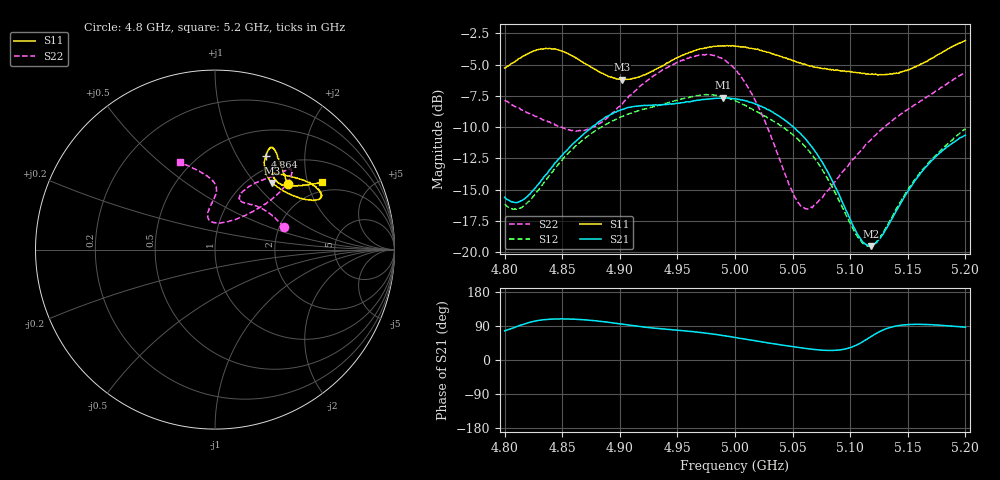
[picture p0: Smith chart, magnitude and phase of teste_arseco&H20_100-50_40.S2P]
! Network Analyzer HP8722D
! Hewlett-Packard
! Data name: Linha & Wilkinson
! Saver's name: Rodrigo Anjos
! Comments: Teste da utilização de aquisição
! continua pelo VNA HP8722D
! Time and date: 6/5/2025 12:54
!  Frequency  S11  S21  S12  S22
# HZ  S  MA R 50
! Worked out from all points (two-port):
!   401 points, 4.8 GHz to 5.2 GHz, reference 50 ohm
!   highest |S21| = -7.66 dB at 4.99 GHz (marker M1); lowest = -19.5 dB at 5.118 GHz (marker M2)
!   |S21| within 3 dB of the highest: 4.867 GHz to 5.058 GHz (190.8 MHz wide, 3.84 % of centre); 5.19975 GHz to end of sweep
!   lowest |S11| = -6.2 dB at 4.902 GHz (marker M3), VSWR 2.92, Z = 63.1 + j61.6 ohm
!   |S11| at or under -10 dB: nowhere
!   |S22| runs from -16.6 to -4.2 dB; largest |S21 - S12| = 0.15
!   S11 on the Smith chart (normalised r, x): 4.8 GHz: 1.45, +1.50; 4.864 GHz: 0.83, +1.32; 5.2 GHz: 1.66, +2.45
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4.8e9  0.545 41.8  0.1656 77.0  0.1556 42.2  0.4048 18.0
4.814e9  0.598 52.5  0.1603 92.0  0.1502 57.4  0.3706 30.5
4.83e9  0.6475 59.0  0.1884 104.7  0.1785 70.7  0.3444 42.3
4.845e9  0.6474 61.6  0.23 108.4  0.2194 75.5  0.3216 51.4
4.864e9  0.5907 61.5  0.2835 107.1  0.2708 76.4  0.3053 61.2
4.867e9  0.5768 61.1  0.292 106.3  0.2782 76.2  0.3054 62.1
4.885e9  0.5186 57.3  0.339 101.6  0.318 74.8  0.333 65.4
4.902e9  0.4893 49.4  0.3717 94.7  0.3483 73.2  0.3911 62.3
4.934e9  0.5472 32.2  0.3875 82.9  0.388 69.4  0.5233 51.5
4.966e9  0.6408 25.9  0.4031 74.1  0.4217 62.0  0.6085 47.7
4.99e9  0.6681 28.0  0.4139 64.3  0.4187 52.1  0.5895 43.9
5e9  0.6656 29.9  0.41 59.3  0.4039 48.2  0.5372 42.4
5.021e9  0.642 35.6  0.3858 49.1  0.36 41.7  0.3753 42.4
5.052e9  0.5801 45.0  0.313 34.4  0.2897 34.7  0.1652 68.0
5.059e9  0.5643 47.2  0.2906 31.4  0.2699 33.2  0.1509 80.7
5.067e9  0.554 49.6  0.2628 28.5  0.2446 31.6  0.1504 92.8
5.084e9  0.5348 52.8  0.1947 25.3  0.1835 32.3  0.1852 102.8
5.106e9  0.5216 51.6  0.1185 40.1  0.116 50.9  0.2455 95.9
5.118e9  0.5139 49.2  0.1056 61.6  0.1059 73.6  0.281 91.4
5.134e9  0.5151 45.7  0.13 85.2  0.132 98.0  0.3284 88.4
5.166e9  0.5785 37.9  0.2194 93.8  0.2219 110.7  0.4152 96.6
5.2e9  0.7021 32.2  0.2935 86.5  0.3114 111.6  0.5238 112.1
